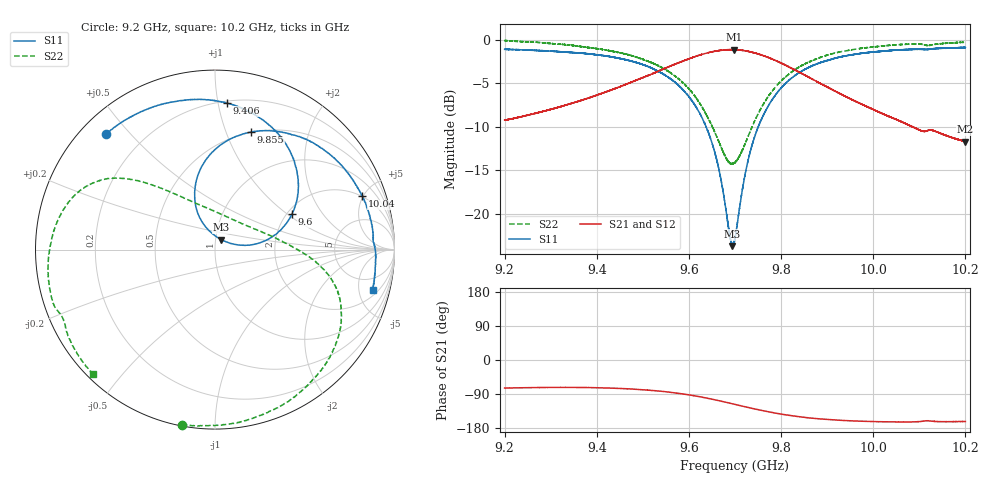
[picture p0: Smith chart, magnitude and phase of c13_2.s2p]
!Agilent Technologies,N5242A,MY51221714,A.09.90.19
!Agilent N5242A: A.09.90.19
!Date: Tuesday, March 26, 2024 15:44:21
!Correction: S11(Full 2 Port(1,2))
!S21(Full 2 Port(1,2))
!S12(Full 2 Port(1,2))
!S22(Full 2 Port(1,2))
!S2P File: Measurements: S11, S21, S12, S22:
# Hz S  dB  R 50
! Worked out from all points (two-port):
!   16001 points, 9.2 GHz to 10.2 GHz, reference 50 ohm
!   highest |S21| = -1.09 dB at 9.697 GHz (marker M1); lowest = -11.7 dB at 10.2 GHz (marker M2)
!   |S21| within 3 dB of the highest: 9.511133 GHz to 9.511528 GHz (395.2 kHz wide, 0.00415 % of centre); 9.512 GHz to 9.853 GHz (341.6 MHz wide, 3.53 % of centre)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
!   lowest |S11| = -23.7 dB at 9.695 GHz (marker M3), VSWR 1.14, Z = 53.1 + j5.97 ohm
!   |S11| at or under -10 dB: 9.637 GHz to 9.75 GHz (112.9 MHz wide, 1.16 % of centre); 9.75034 GHz to 9.7504 GHz (59.58 kHz wide, 0.000611 % of centre); 9.750487 GHz to 9.750503 GHz (16.44 kHz wide, 0.000169 % of centre)
!   |S22| runs from -14.3 to 0.0 dB; largest |S21 - S12| = 0.01
!   S11 on the Smith chart (normalised r, x): 9.2 GHz: 0.07, +0.43; 9.406 GHz: 0.21, +1.06; 9.6 GHz: 2.13, +1.09; 9.855 GHz: 0.50, +1.22; 10.04 GHz: 1.96, +4.95; 10.2 GHz: 2.76, -6.92
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9.2e9  -1.07 133.2  -9.23 -74.1  -9.23 -74.8  -0.06 -100.7
9.278562e9  -1.22 116.0  -8.27 -72.6  -8.27 -73.2  -0.29 -79.2
9.366688e9  -1.51 95.5  -6.95 -72.6  -6.94 -73.2  -0.77 -56.3
9.406312e9  -1.72 85.4  -6.22 -73.3  -6.21 -74.0  -1.03 -46.3
9.469438e9  -2.35 68.1  -4.98 -76.2  -4.98 -76.8  -1.71 -31.7
9.533375e9  -3.61 48.2  -3.60 -81.7  -3.59 -82.3  -2.94 -17.9
9.599625e9  -6.50 24.8  -2.16 -92.0  -2.17 -92.5  -5.60 -4.3
9.652375e9  -12.26 8.3  -1.33 -104.0  -1.32 -104.5  -10.15 15.3
9.667625e9  -15.54 8.3  -1.19 -108.1  -1.19 -108.5  -12.02 27.2
9.694562e9  -23.74 59.5  -1.11 -115.6  -1.09 -116.1  -14.27 66.9
9.697125e9  -23.38 71.7  -1.09 -116.2  -1.10 -116.9  -14.23 71.5
9.7e9  -22.90 82.8  -1.11 -117.2  -1.10 -117.7  -14.10 76.1
9.726188e9  -14.37 115.7  -1.27 -124.6  -1.27 -125.2  -11.40 110.3
9.753562e9  -9.58 110.0  -1.65 -131.9  -1.66 -132.6  -8.14 126.6
9.807438e9  -5.11 90.2  -2.84 -144.2  -2.84 -144.7  -4.35 139.9
9.85475e9  -3.30 73.1  -4.13 -151.9  -4.14 -152.3  -2.67 147.9
9.866688e9  -3.00 69.0  -4.48 -153.4  -4.48 -153.9  -2.38 150.0
9.934375e9  -1.88 47.9  -6.34 -159.5  -6.35 -160.1  -1.30 162.7
1.003338e10  -1.23 22.0  -8.79 -163.1  -8.78 -163.7  -0.62 -175.9
1.004212e10  -1.17 19.9  -8.97 -163.2  -8.97 -163.7  -0.57 -173.8
1.01e10  -1.06 6.5  -10.36 -162.5  -10.36 -162.9  -0.46 -160.7
1.02e10  -0.85 -14.3  -11.71 -162.3  -11.71 -162.8  -0.26 -134.5
